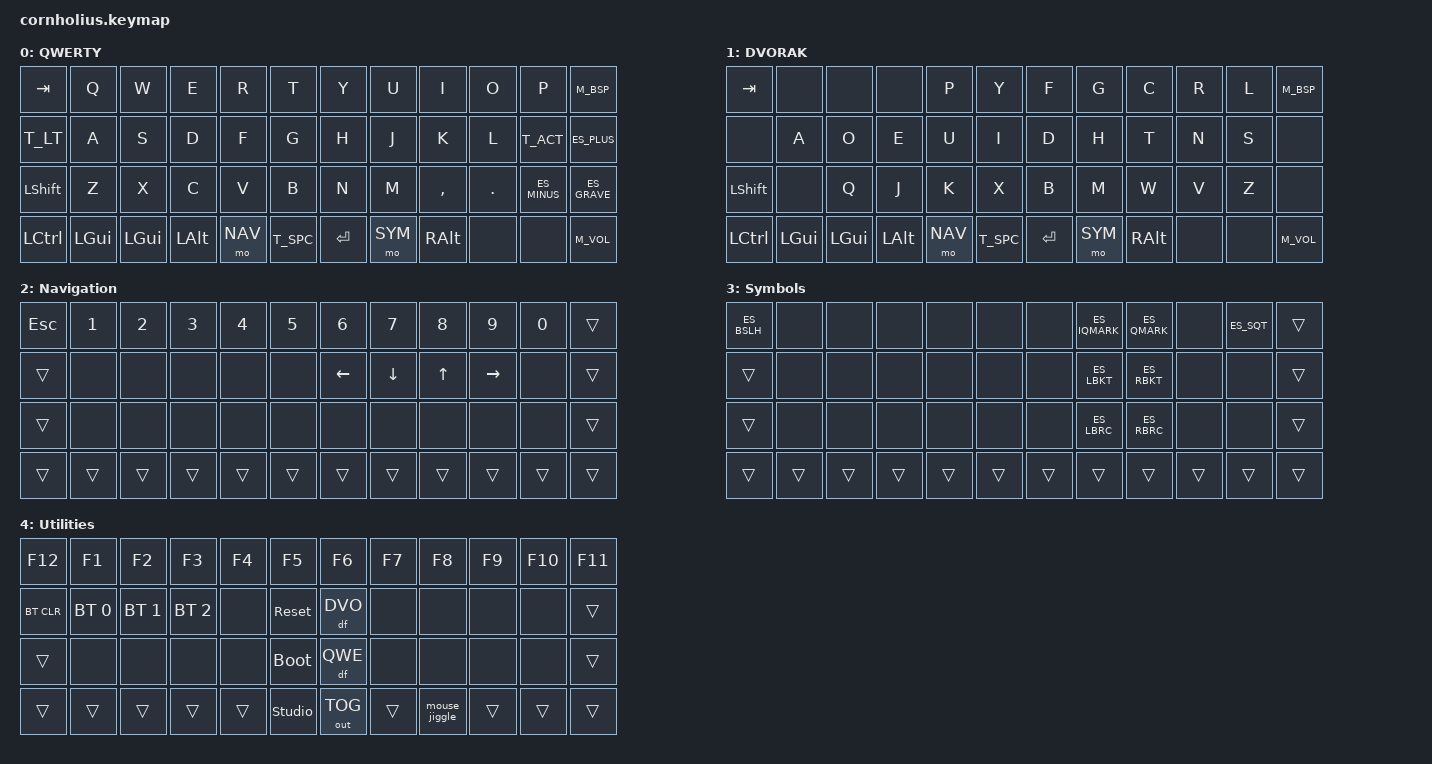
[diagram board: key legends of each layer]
/*
 * Copyright (c) 2024 The ZMK Contributors
 *
 * SPDX-License-Identifier: MIT
 */

#include <behaviors.dtsi>
#include <dt-bindings/zmk/bt.h>
#include <dt-bindings/zmk/keys.h>
#include <dt-bindings/zmk/outputs.h>
#include <dt-bindings/zmk/pointing.h>

#include "keys_es.h"
#include "elpekenin/behaviors.dtsi"

#define QWE 0
#define DVO 1
#define NAV 2
#define SYM 3
#define UTL 4

/ {
    mod_morphs {
        M_BSP: bspc_or_del {
            compatible = "zmk,behavior-mod-morph";
            #binding-cells = <0>;
            bindings = <&kp BSPC>, <&kp DEL>;
            mods = <(MOD_LSFT)>;
        };

        M_VOL: volup_or_voldn {
            compatible = "zmk,behavior-mod-morph";
            #binding-cells = <0>;
            bindings = <&kp C_VOL_UP>, <&kp C_VOL_DN>;
            mods = <(MOD_LSFT)>;
        };
    };

    macros {
        _4_SPC: space_times_4 {
            compatible = "zmk,behavior-macro";
            #binding-cells = <0>;
            bindings = <&kp SPC>,
                       <&kp SPC>,
                       <&kp SPC>,
                       <&macro_press   &kp SPC>,
                       <&macro_pause_for_release>,
                       <&macro_release &kp SPC>;
        };

        led_soft_off: led_soft_off {
            compatible = "zmk,behavior-macro";
            #binding-cells = <0>;
            wait-ms = <200>;
            bindings = <&gpio BLUE GPIO_ON>,
                       <&gpio BLUE GPIO_OFF>,
                       <&gpio BLUE GPIO_ON>,
                       <&gpio BLUE GPIO_OFF>,
                       <&soft_off>;
        };

        mouse_jiggle: mouse_jiggle {
            compatible = "zmk,behavior-macro";
            #binding-cells = <0>;
            wait-ms = <200>;
            bindings = <&mmv MOVE_DOWN>,
                       <&mmv MOVE_UP>;
        };
    };

    tap_dances {
        T_LT: lt_gt {
            compatible = "zmk,behavior-tap-dance";
            #binding-cells = <0>;
            bindings = <&kp ES_LT>, <&kp ES_GT>;
        };

        T_ACT: acute_ntilde {
            compatible = "zmk,behavior-tap-dance";
            #binding-cells = <0>;
            bindings = <&kp ES_ACUTE>, <&kp ES_N_TILDE>;
        };

        T_SPC: space_indent {
            compatible = "zmk,behavior-tap-dance";
            #binding-cells = <0>;
            bindings = <&kp SPC>, <&_4_SPC>;
        };
    };

    conditional_layers {
        compatible = "zmk,conditional-layers";
        tri_layer {
            if-layers = <NAV SYM>;
            then-layer = <UTL>;
        };
    };

    layer_callbacks {
        compatible = "elpekenin,layer-callback";
        utils_on {
            layer = <UTL>;
            event = "on-activation";
            bindings = <&gpio GREEN GPIO_ON>;
        };
        utils_off {
            layer = <UTL>;
            event = "on-deactivation";
            bindings = <&gpio GREEN GPIO_OFF>;
        };
    };
};

/**
 * patch to use PR code while still "importing" userspace
&df {
    compatible = "zmk,behavior-default-layer";
};
 */

&soft_off_callback {
    bindings = <&led_soft_off>;
};

&gpiote {
    status = "okay";
};

/ {
    keymap {
        compatible = "zmk,keymap";

        qwerty {
            display-name = "QWERTY";

            bindings = <
                &kp TAB       &kp Q         &kp W         &kp E         &kp R         &kp T         /**/     &kp Y         &kp U         &kp I         &kp O         &kp P         &M_BSP
                &T_LT         &kp A         &kp S         &kp D         &kp F         &kp G         /**/     &kp H         &kp J         &kp K         &kp L         &T_ACT        &kp ES_PLUS
                &kp LSHFT     &kp Z         &kp X         &kp C         &kp V         &kp B         /**/     &kp N         &kp M         &kp COMMA     &kp DOT       &kp ES_MINUS  &kp ES_GRAVE
                &kp LCTRL     &kp LGUI      &kp LGUI      &kp LALT      &mo NAV       &T_SPC        /**/     &kp ENTER     &mo SYM       &kp RALT      &none         &none         &M_VOL
            >;
        };

        dvorak {
            display-name = "DVORAK";

            bindings = <
                &kp TAB       &none         &none         &none         &kp P         &kp Y         /**/     &kp F         &kp G         &kp C         &kp R         &kp L         &M_BSP
                &none         &kp A         &kp O         &kp E         &kp U         &kp I         /**/     &kp D         &kp H         &kp T         &kp N         &kp S         &none
                &kp LSHFT     &none         &kp Q         &kp J         &kp K         &kp X         /**/     &kp B         &kp M         &kp W         &kp V         &kp Z         &none
                &kp LCTRL     &kp LGUI      &kp LGUI      &kp LALT      &mo NAV       &T_SPC        /**/     &kp ENTER     &mo SYM       &kp RALT      &none         &none         &M_VOL
            >;
        };

        navigation {
            display-name = "Navigation";

            bindings = <
                &kp ESC       &kp N1        &kp N2        &kp N3        &kp N4        &kp N5        /**/     &kp N6        &kp N7        &kp N8        &kp N9        &kp N0       &trans
                &trans        &none         &none         &none         &none         &none         /**/     &kp LEFT      &kp DOWN      &kp UP        &kp RIGHT     &none        &trans
                &trans        &none         &none         &none         &none         &none         /**/     &none         &none         &none         &none         &none        &trans
                &trans        &trans        &trans        &trans        &trans        &trans        /**/     &trans        &trans        &trans        &trans        &trans       &trans
            >;
        };

        symbols {
            display-name = "Symbols";

            bindings = <
                &kp ES_BSLH   &none         &none         &none         &none         &none         /**/     &none         &kp ES_IQMARK &kp ES_QMARK  &none         &kp ES_SQT    &trans
                &trans        &none         &none         &none         &none         &none         /**/     &none         &kp ES_LBKT   &kp ES_RBKT   &none         &none         &trans
                &trans        &none         &none         &none         &none         &none         /**/     &none         &kp ES_LBRC   &kp ES_RBRC   &none         &none         &trans
                &trans        &trans        &trans        &trans        &trans        &trans        /**/     &trans        &trans        &trans        &trans        &trans        &trans
            >;
        };

        utils {
            display-name = "Utilities";

            bindings = <
                &kp F12       &kp F1        &kp F2        &kp F3        &kp F4        &kp F5        /**/     &kp F6        &kp F7        &kp F8        &kp F9        &kp F10       &kp F11
                &bt BT_CLR    &bt BT_SEL 0  &bt BT_SEL 1  &bt BT_SEL 2  &none         &sys_reset    /**/     &df DVO       &none         &none         &none         &none         &trans
                &trans        &none         &none         &none         &none         &bootloader   /**/     &df QWE       &none         &none         &none         &none         &trans
                &trans        &trans        &trans        &trans        &trans        &studio_unlock/**/     &out OUT_TOG  &trans        &mouse_jiggle &trans        &trans        &trans
            >;
        };
    };
};
